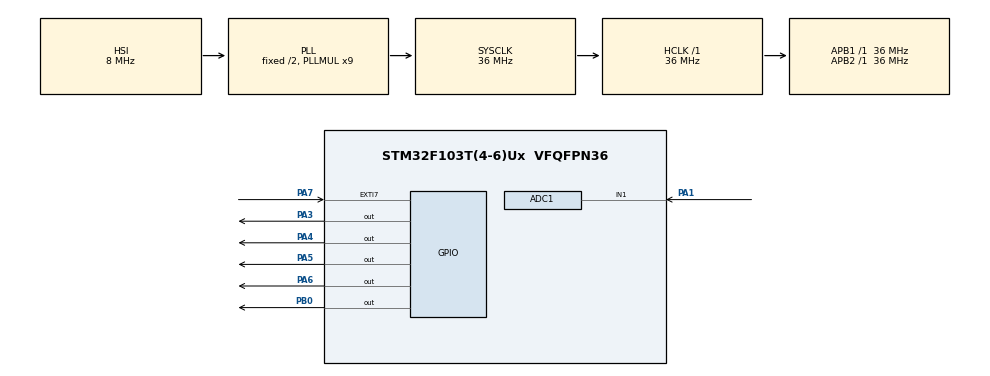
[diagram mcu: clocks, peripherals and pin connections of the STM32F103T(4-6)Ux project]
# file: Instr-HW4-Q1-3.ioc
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ADC1.Channel-0\#ChannelRegularConversion=ADC_CHANNEL_1
ADC1.NbrOfConversionFlag=1
ADC1.Rank-0\#ChannelRegularConversion=1
ADC1.SamplingTime-0\#ChannelRegularConversion=ADC_SAMPLETIME_1CYCLE_5
ADC1.master=1
Mcu.Family=STM32F1
Mcu.Name=STM32F103T(4-6)Ux
Mcu.Package=VFQFPN36
NVIC.PriorityGroup=NVIC_PRIORITYGROUP_4
PA1.Signal=ADCx_IN1
PA3.Signal=GPIO_Output
PA4.Signal=GPIO_Output
PA5.Signal=GPIO_Output
PA6.Signal=GPIO_Output
PA7.Signal=GPXTI7
PB0.Signal=GPIO_Output
ProjectManager.HeapSize=0x200
ProjectManager.StackSize=0x400
ProjectManager.TargetToolchain=STM32CubeIDE
RCC.ADCPresc=RCC_ADCPCLK2_DIV4
RCC.AHBFreq_Value=36000000
RCC.APB1Freq_Value=36000000
RCC.APB1TimFreq_Value=36000000
RCC.APB2Freq_Value=36000000
RCC.APB2TimFreq_Value=36000000
RCC.HCLKFreq_Value=36000000
RCC.PLLMUL=RCC_PLL_MUL9
RCC.SYSCLKFreq_VALUE=36000000
RCC.SYSCLKSource=RCC_SYSCLKSOURCE_PLLCLK
RCC.USBFreq_Value=36000000
SH.ADCx_IN1.0=ADC1_IN1,IN1
VP_SYS_VS_ND.Mode=No_Debug
board=custom

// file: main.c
/* USER CODE BEGIN Header */
/**
  ******************************************************************************
  * @file           : main.c
  * @brief          : Main program body
  ******************************************************************************
  * @attention
  *
  * Copyright (c) 2026 STMicroelectronics.
  * All rights reserved.
  *
  * This software is licensed under terms that can be found in the LICENSE file
  * in the root directory of this software component.
  * If no LICENSE file comes with this software, it is provided AS-IS.
  *
  ******************************************************************************
  */
/* USER CODE END Header */
#include "main.h"
#include "lcd.h"
#include <stdio.h>
#include <math.h>

ADC_HandleTypeDef hadc1;

/* USER CODE BEGIN PV */
Lcd_PortType port[] = {GPIOA, GPIOA, GPIOA, GPIOA};
Lcd_PinType pin[] = {GPIO_PIN_3, GPIO_PIN_4, GPIO_PIN_5, GPIO_PIN_6};
Lcd_PortType rsPort = GPIOA;
Lcd_PinType rsPin = GPIO_PIN_7;
Lcd_PortType ePort = GPIOB;
Lcd_PinType ePin = GPIO_PIN_0;
Lcd_HandleTypeDef lcd;

uint32_t adcValue = 0;
float sensorVoltage = 0.0;
float r_ntc = 0.0;
float temperature = 0.0;
char lcd_line1[16];
char lcd_line2[16];
/* USER CODE END PV */

void SystemClock_Config(void);
static void MX_GPIO_Init(void);
static void MX_ADC1_Init(void);

int main(void)
{

  /* MCU Configuration--------------------------------------------------------*/

  /* Reset of all peripherals, Initializes the Flash interface and the Systick. */
  HAL_Init();

  /* Configure the system clock */
  SystemClock_Config();

  /* Initialize all configured peripherals */
  MX_GPIO_Init();
  MX_ADC1_Init();
  /* USER CODE BEGIN 2 */
  lcd = Lcd_create(port, pin, rsPort, rsPin, ePort, ePin, LCD_4_BIT_MODE);
  HAL_Delay(100);
  Lcd_init(&lcd);
  /* USER CODE END 2 */

  /* Infinite loop */
  /* USER CODE BEGIN WHILE */
  while (1)
  {
    HAL_ADC_Start(&hadc1);
    if (HAL_ADC_PollForConversion(&hadc1, 100) == HAL_OK)
    {
        adcValue = HAL_ADC_GetValue(&hadc1);

        sensorVoltage = ((float)adcValue * 5.0f) / 4095.0f;

        if (sensorVoltage > 0.01f) {
        	r_ntc = 10000.0f * ((5.0f / sensorVoltage) - 1.0f);
        }

        temperature = log(r_ntc / 30500.0f) / -0.05899f;

        sprintf(lcd_line1, "V:%.2f R:%.1fk", sensorVoltage, (r_ntc / 1000.0f));
        sprintf(lcd_line2, "Temp: %.1fC", temperature);

        Lcd_clear(&lcd);
        Lcd_cursor(&lcd, 0, 0);
        Lcd_string(&lcd, lcd_line1);
        Lcd_cursor(&lcd, 1, 0);
        Lcd_string(&lcd, lcd_line2);
    }
    HAL_ADC_Stop(&hadc1);

    HAL_Delay(500);
    /* USER CODE END WHILE */

  }
}

void SystemClock_Config(void)
{
  RCC_OscInitTypeDef RCC_OscInitStruct = {0};
  RCC_ClkInitTypeDef RCC_ClkInitStruct = {0};
  RCC_PeriphCLKInitTypeDef PeriphClkInit = {0};

  /** Initializes the RCC Oscillators according to the specified parameters
  * in the RCC_OscInitTypeDef structure.
  */
  RCC_OscInitStruct.OscillatorType = RCC_OSCILLATORTYPE_HSI;
  RCC_OscInitStruct.HSIState = RCC_HSI_ON;
  RCC_OscInitStruct.HSICalibrationValue = RCC_HSICALIBRATION_DEFAULT;
  RCC_OscInitStruct.PLL.PLLState = RCC_PLL_ON;
  RCC_OscInitStruct.PLL.PLLSource = RCC_PLLSOURCE_HSI_DIV2;
  RCC_OscInitStruct.PLL.PLLMUL = RCC_PLL_MUL9;
  if (HAL_RCC_OscConfig(&RCC_OscInitStruct) != HAL_OK)
  {
    Error_Handler();
  }

  /** Initializes the CPU, AHB and APB buses clocks
  */
  RCC_ClkInitStruct.ClockType = RCC_CLOCKTYPE_HCLK|RCC_CLOCKTYPE_SYSCLK
                              |RCC_CLOCKTYPE_PCLK1|RCC_CLOCKTYPE_PCLK2;
  RCC_ClkInitStruct.SYSCLKSource = RCC_SYSCLKSOURCE_PLLCLK;
  RCC_ClkInitStruct.AHBCLKDivider = RCC_SYSCLK_DIV1;
  RCC_ClkInitStruct.APB1CLKDivider = RCC_HCLK_DIV1;
  RCC_ClkInitStruct.APB2CLKDivider = RCC_HCLK_DIV1;

  if (HAL_RCC_ClockConfig(&RCC_ClkInitStruct, FLASH_LATENCY_1) != HAL_OK)
  {
    Error_Handler();
  }
  PeriphClkInit.PeriphClockSelection = RCC_PERIPHCLK_ADC;
  PeriphClkInit.AdcClockSelection = RCC_ADCPCLK2_DIV4;
  if (HAL_RCCEx_PeriphCLKConfig(&PeriphClkInit) != HAL_OK)
  {
    Error_Handler();
  }
}

static void MX_ADC1_Init(void)
{

  ADC_ChannelConfTypeDef sConfig = {0};

  /** Common config
  */
  hadc1.Instance = ADC1;
  hadc1.Init.ScanConvMode = ADC_SCAN_DISABLE;
  hadc1.Init.ContinuousConvMode = DISABLE;
  hadc1.Init.DiscontinuousConvMode = DISABLE;
  hadc1.Init.ExternalTrigConv = ADC_SOFTWARE_START;
  hadc1.Init.DataAlign = ADC_DATAALIGN_RIGHT;
  hadc1.Init.NbrOfConversion = 1;
  if (HAL_ADC_Init(&hadc1) != HAL_OK)
  {
    Error_Handler();
  }

  /** Configure Regular Channel
  */
  sConfig.Channel = ADC_CHANNEL_1;
  sConfig.Rank = ADC_REGULAR_RANK_1;
  sConfig.SamplingTime = ADC_SAMPLETIME_1CYCLE_5;
  if (HAL_ADC_ConfigChannel(&hadc1, &sConfig) != HAL_OK)
  {
    Error_Handler();
  }

}

static void MX_GPIO_Init(void)
{
  GPIO_InitTypeDef GPIO_InitStruct = {0};

  /* GPIO Ports Clock Enable */
  __HAL_RCC_GPIOA_CLK_ENABLE();
  __HAL_RCC_GPIOB_CLK_ENABLE();

  /*Configure GPIO pin Output Level */
  HAL_GPIO_WritePin(GPIOA, GPIO_PIN_3|GPIO_PIN_4|GPIO_PIN_5|GPIO_PIN_6
                          |GPIO_PIN_7, GPIO_PIN_RESET);

  /*Configure GPIO pin Output Level */
  HAL_GPIO_WritePin(GPIOB, GPIO_PIN_0, GPIO_PIN_RESET);

  /*Configure GPIO pins : PA3 PA4 PA5 PA6
                           PA7 */
  GPIO_InitStruct.Pin = GPIO_PIN_3|GPIO_PIN_4|GPIO_PIN_5|GPIO_PIN_6
                          |GPIO_PIN_7;
  GPIO_InitStruct.Mode = GPIO_MODE_OUTPUT_PP;
  GPIO_InitStruct.Pull = GPIO_NOPULL;
  GPIO_InitStruct.Speed = GPIO_SPEED_FREQ_LOW;
  HAL_GPIO_Init(GPIOA, &GPIO_InitStruct);

  /*Configure GPIO pin : PB0 */
  GPIO_InitStruct.Pin = GPIO_PIN_0;
  GPIO_InitStruct.Mode = GPIO_MODE_OUTPUT_PP;
  GPIO_InitStruct.Pull = GPIO_NOPULL;
  GPIO_InitStruct.Speed = GPIO_SPEED_FREQ_LOW;
  HAL_GPIO_Init(GPIOB, &GPIO_InitStruct);

}

void Error_Handler(void)
{
  __disable_irq();
  while (1)
  {
  }
}
